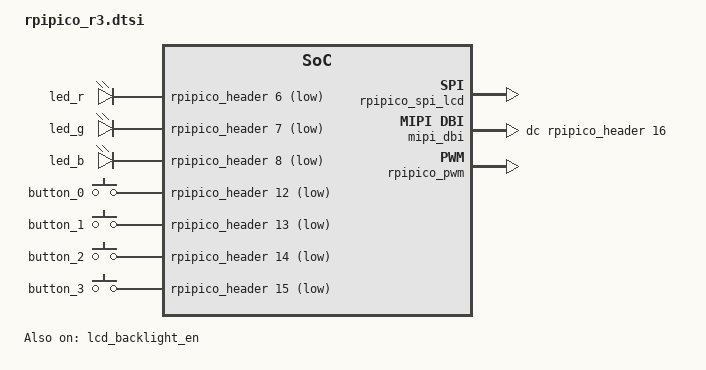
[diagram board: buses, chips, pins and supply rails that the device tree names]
/*
 * Copyright (c) 2024 TiaC Systems
 * SPDX-License-Identifier: Apache-2.0
 */

#include "rpipico_r3-connect.dtsi"

#include "st7789v_320x240.dtsi"
#include "st7789v_rgb565.dtsi"

#include <zephyr/dt-bindings/gpio/gpio.h>
#include <zephyr/dt-bindings/pwm/pwm.h>

&rpipico_spi_lcd {
	status = "okay";
	cs-gpios = <&rpipico_header 17 GPIO_ACTIVE_LOW>;	/* GP17 */
};

&mipi_dbi {
	status = "okay";
	dc-gpios = <&rpipico_header 16 GPIO_ACTIVE_HIGH>;	/* GP16 */
	spi-dev = <&rpipico_spi_lcd>;
	#address-cells = <1>;
	#size-cells = <0>;
};

&lcd_panel {
	status = "okay";
};

&lcd_backlight_en {
	status = "okay";
	enable-gpios = <&rpipico_header 20 GPIO_ACTIVE_HIGH>;	/* GP20 */
};

&rpipico_pwm {
	status = "okay";
	divider-frac-3 = <15>;
	divider-int-3 = <255>;
	divider-frac-4 = <15>;
	divider-int-4 = <255>;
};

&pwm_led_r {							/* GP6:PWM3A */
	pwms = <&rpipico_pwm 6 PWM_MSEC(20) PWM_POLARITY_INVERTED>;
};

&pwm_led_g {							/* GP7:PWM3B */
	pwms = <&rpipico_pwm 7 PWM_MSEC(20) PWM_POLARITY_INVERTED>;
};

&pwm_led_b {							/* GP8:PWM4A */
	pwms = <&rpipico_pwm 8 PWM_MSEC(20) PWM_POLARITY_INVERTED>;
};

&led_r {							/* GP6 */
	gpios = <&rpipico_header 6 (GPIO_PULL_UP | GPIO_ACTIVE_LOW)>;
};

&led_g {							/* GP7 */
	gpios = <&rpipico_header 7 (GPIO_PULL_UP | GPIO_ACTIVE_LOW)>;
};

&led_b {							/* GP8 */
	gpios = <&rpipico_header 8 (GPIO_PULL_UP | GPIO_ACTIVE_LOW)>;
};

&button_0 {							/* GP12 */
	gpios = <&rpipico_header 12 (GPIO_PULL_UP | GPIO_ACTIVE_LOW)>;
};

&button_1 {							/* GP13 */
	gpios = <&rpipico_header 13 (GPIO_PULL_UP | GPIO_ACTIVE_LOW)>;
};

&button_2 {							/* GP14 */
	gpios = <&rpipico_header 14 (GPIO_PULL_UP | GPIO_ACTIVE_LOW)>;
};

&button_3 {							/* GP15 */
	gpios = <&rpipico_header 15 (GPIO_PULL_UP | GPIO_ACTIVE_LOW)>;
};
